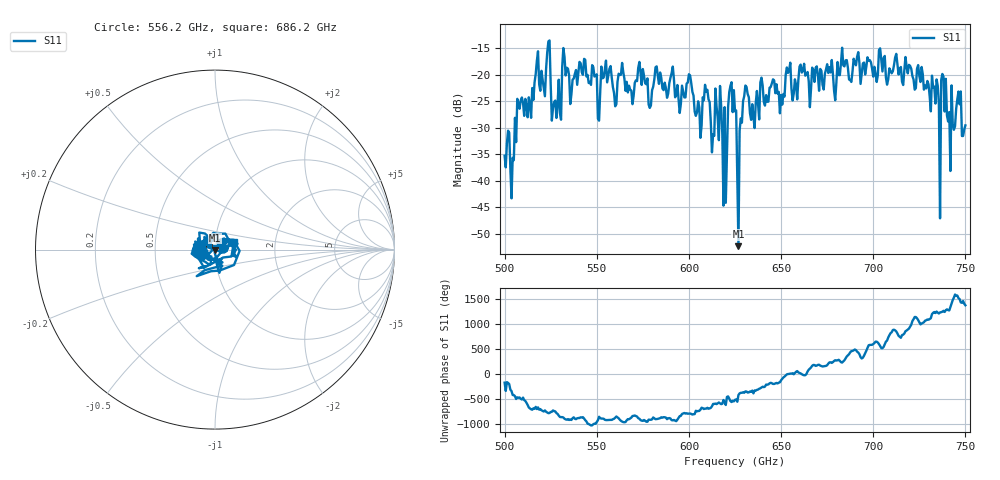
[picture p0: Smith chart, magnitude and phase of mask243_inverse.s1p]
!Created with skrf (http://scikit-rf.org).
# GHz S MA R 50.0
!freq magS11 angS11
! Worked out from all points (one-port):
!   401 points, 500 GHz to 750 GHz, reference 50 ohm
!   lowest |S11| = -52.3 dB at 626.9 GHz (marker M1), VSWR 1.00, Z = 50.1 - j0.197 ohm
!   |S11| at or under -10 dB: start of sweep to end of sweep
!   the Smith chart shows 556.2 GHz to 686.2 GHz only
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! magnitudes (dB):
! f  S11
! 500 GHz  -35.3
! 504.4 GHz  -35.7
! 508.1 GHz  -26.4
! 513.1 GHz  -24.3
! 517.5 GHz  -17.4
! 523.8 GHz  -13.7
! 526.9 GHz  -25.1
! 531.2 GHz  -18.5
! 562.5 GHz  -20.1
! 593.8 GHz  -21.9
! 600 GHz  -19.9
! 605.6 GHz  -26.2
! 610 GHz  -22.8
! 612.5 GHz  -34.6
! 616.2 GHz  -32.3
! 619.4 GHz  -26.1
! 622.5 GHz  -22.1
! 625 GHz  -26.9
! 626.9 GHz  -52.3
! 630.6 GHz  -22.0
! 634.4 GHz  -25.6
! 656.2 GHz  -24.9
! 687.5 GHz  -21.0
! 718.8 GHz  -19.7
! 735 GHz  -22.1
! 738.1 GHz  -20.4
! 746.2 GHz  -23.2
! 750 GHz  -29.6
